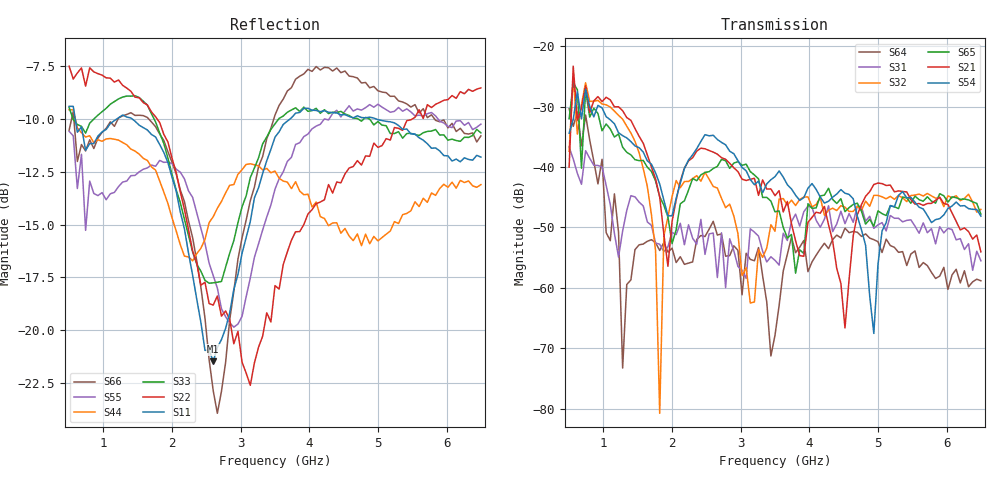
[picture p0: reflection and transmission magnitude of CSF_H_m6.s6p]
!Keysight Technologies,M9804A,MY58100912,A.14.10.03
!Date: Thursday, April 27, 2023 10:28:33
!Correction: S11(C  6-Port  )
!S12(C  6-Port  )
!S13(C  6-Port  )
!S14(C  6-Port  )
!S15(C  6-Port  )
!S16(C  6-Port  )
!S21(C  6-Port  )
!S22(C  6-Port  )
!S23(C  6-Port  )
!S24(C  6-Port  )
!S25(C  6-Port  )
!S26(C  6-Port  )
!S31(C  6-Port  )
!S32(C  6-Port  )
!S33(C  6-Port  )
!S34(C  6-Port  )
!S35(C  6-Port  )
!S36(C  6-Port  )
!S41(C  6-Port  )
!S42(C  6-Port  )
!S43(C  6-Port  )
!S44(C  6-Port  )
!S45(C  6-Port  )
!S46(C  6-Port  )
!S51(C  6-Port  )
!S52(C  6-Port  )
!S53(C  6-Port  )
!S54(C  6-Port  )
!S55(C  6-Port  )
!S56(C  6-Port  )
!S61(C  6-Port  )
!S62(C  6-Port  )
!S63(C  6-Port  )
!S64(C  6-Port  )
!S65(C  6-Port  )
!S66(C  6-Port  )
!S6P File: Measurement: :
# Hz S  RI  R 50
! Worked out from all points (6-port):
!   101 points, 500 MHz to 6.5 GHz, reference 50 ohm
!   strongest paths, dB at 500 MHz, 2 GHz, 3.5 GHz, 5 GHz, 6.5 GHz:
!     S54: -34.4, -48.1, -41.6, -56.2, -48.1
!     S21: -40.0, -49.0, -44.7, -42.7, -54.1
!     S65: -32.0, -52.7, -47.4, -47.3, -47.8
!     S32: -37.4, -44.9, -50.6, -44.7, -47.0
!     S31: -36.7, -50.8, -55.4, -49.6, -55.5
!     S64: -30.4, -53.4, -67.9, -52.4, -58.8
!   lowest |S11| = -21.5 dB at 2.6 GHz (marker M1), VSWR 1.18, Z = 42.5 + j2.19 ohm
!   |S11| at or under -10 dB: 589.7 MHz to 1.191 GHz (601.4 MHz wide, 67.5 % of centre); 1.422 GHz to 3.716 GHz (2.294 GHz wide, 89.3 % of centre); 4.979 GHz to end of sweep
